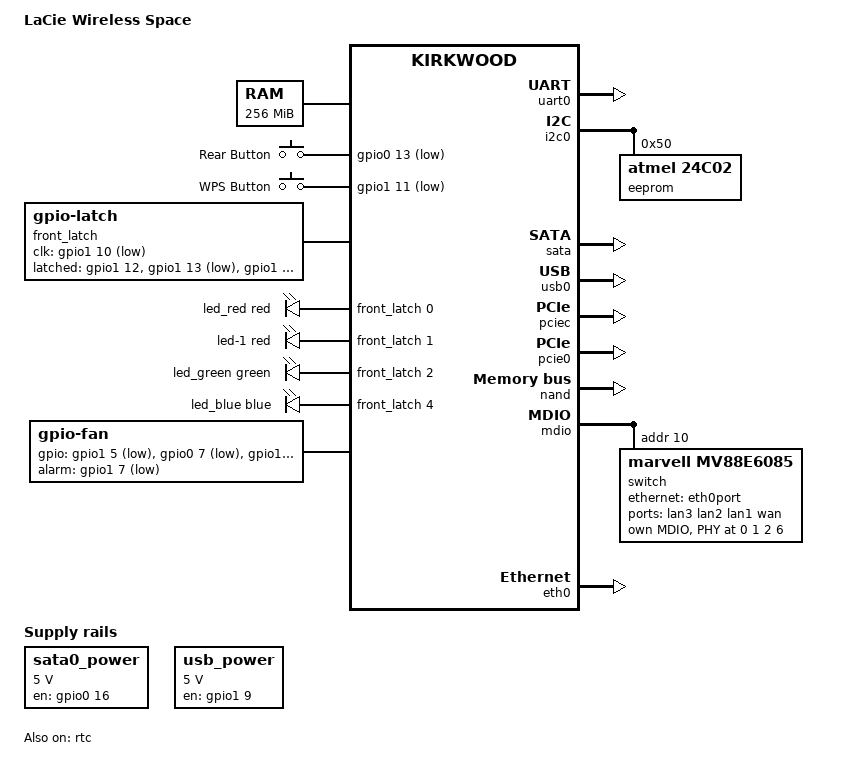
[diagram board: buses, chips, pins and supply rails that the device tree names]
// SPDX-License-Identifier: (GPL-2.0-or-later OR MIT)
/*
 * LaCie Wireless Space (board ASTON_WS_GN3, Marvell 88F6281, 256 MiB, 128 MiB NAND)
 *
 * GPIO/MPP map taken from the U-Boot board file removed in U-Boot commit
 * b352182a00 ("arm: Remove wireless_space board").
 *
 * Booted by the ported mainline U-Boot (board "wireless_space"), which loads
 * the "kernel" volume from UBI. The stock LaCie firmware is replaced; NAND
 * layout matches U-Boot's mtdparts:
 *   0x000000 768 KiB u-boot, 0x0c0000 256 KiB u-boot-env, 0x100000 ubi
 */

/dts-v1/;

#include "kirkwood.dtsi"
#include "kirkwood-6281.dtsi"
#include <dt-bindings/leds/common.h>

/ {
	model = "LaCie Wireless Space";
	compatible = "lacie,wireless-space", "marvell,kirkwood-88f6281", "marvell,kirkwood";

	memory@0 {
		device_type = "memory";
		reg = <0x00000000 0x10000000>;
	};

	aliases {
		serial0 = &uart0;
		led-boot = &led_blue;
		led-failsafe = &led_red;
		led-running = &led_blue;
		led-upgrade = &led_green;
	};

	chosen {
		bootargs = "console=ttyS0,115200n8 earlyprintk";
		stdout-path = "serial0:115200n8";
	};

	gpio-keys {
		compatible = "gpio-keys";

		reset {
			label = "Rear Button";
			linux,code = <KEY_RESTART>;
			gpios = <&gpio0 13 GPIO_ACTIVE_LOW>;
		};

		wps {
			label = "WPS Button";
			linux,code = <KEY_WPS_BUTTON>;
			gpios = <&gpio1 11 GPIO_ACTIVE_LOW>;	/* MPP43 */
		};
	};

	/*
	 * Front light: one RGB LED (common anode, connector J15) behind a
	 * latch. The stock kernel sets the data lines, then clocks MPP42
	 * low and back high; the outputs hold while MPP42 stays high
	 * (checked on the hardware), so MPP42 is an active-low clock here.
	 * MPP45 low makes the red LED blink in hardware (about 5 Hz).
	 * MPP47 low switches the blue LED to a disk activity input that
	 * stays dark with OpenWrt, so it is kept high.
	 */
	front_latch: gpio-latch {
		compatible = "gpio-latch";
		gpio-controller;
		#gpio-cells = <2>;
		setup-duration-ns = <1000>;
		clock-duration-ns = <1000>;

		clk-gpios = <&gpio1 10 GPIO_ACTIVE_LOW>;	/* MPP42 */
		latched-gpios = <&gpio1 12 GPIO_ACTIVE_HIGH>,	/* MPP44 red */
				<&gpio1 13 GPIO_ACTIVE_LOW>,	/* MPP45 red blink */
				<&gpio1 14 GPIO_ACTIVE_HIGH>,	/* MPP46 green */
				<&gpio1 15 GPIO_ACTIVE_LOW>,	/* MPP47 disk blink */
				<&gpio1 16 GPIO_ACTIVE_HIGH>;	/* MPP48 blue */
	};

	leds {
		compatible = "gpio-leds";

		led_red: led-0 {
			function = LED_FUNCTION_STATUS;
			color = <LED_COLOR_ID_RED>;
			gpios = <&front_latch 0 GPIO_ACTIVE_HIGH>;
		};

		/* hardware blink of the red LED (only visible with red on) */
		led-1 {
			function = LED_FUNCTION_FAULT;
			color = <LED_COLOR_ID_RED>;
			gpios = <&front_latch 1 GPIO_ACTIVE_HIGH>;
		};

		led_green: led-2 {
			function = LED_FUNCTION_STATUS;
			color = <LED_COLOR_ID_GREEN>;
			gpios = <&front_latch 2 GPIO_ACTIVE_HIGH>;
		};

		led_blue: led-4 {
			function = LED_FUNCTION_STATUS;
			color = <LED_COLOR_ID_BLUE>;
			gpios = <&front_latch 4 GPIO_ACTIVE_HIGH>;
		};
	};

	/*
	 * Fan, from the stock kernel's gpio-fan platform data: 3 speed bits
	 * (MPP37 = bit 0, MPP7 = bit 1, MPP36 = bit 2, active low), power on
	 * MPP38 (bit 3 here), MPP39 high while the fan turns. The RPM values
	 * are the stock table for speed 0..7.
	 */
	fan {
		compatible = "gpio-fan";
		gpios = <&gpio1 5 GPIO_ACTIVE_LOW>,	/* MPP37 */
			<&gpio0 7 GPIO_ACTIVE_LOW>,	/* MPP7 */
			<&gpio1 4 GPIO_ACTIVE_LOW>,	/* MPP36 */
			<&gpio1 6 GPIO_ACTIVE_HIGH>;	/* MPP38 */
		gpio-fan,speed-map = <0 0>, <1220 8>, <1325 9>, <1700 10>,
				     <2000 11>, <3200 12>, <3800 13>,
				     <4900 14>, <5400 15>;
		alarm-gpios = <&gpio1 7 GPIO_ACTIVE_LOW>;	/* MPP39 */
		#cooling-cells = <2>;
	};

	regulators {
		compatible = "simple-bus";
		#address-cells = <1>;
		#size-cells = <0>;

		sata0_power: regulator@1 {
			compatible = "regulator-fixed";
			reg = <1>;
			regulator-name = "SATA0 Power";
			regulator-min-microvolt = <5000000>;
			regulator-max-microvolt = <5000000>;
			enable-active-high;
			regulator-always-on;
			regulator-boot-on;
			gpio = <&gpio0 16 GPIO_ACTIVE_HIGH>;
		};

		usb_power: regulator@2 {
			compatible = "regulator-fixed";
			reg = <2>;
			regulator-name = "USB VBUS";
			regulator-min-microvolt = <5000000>;
			regulator-max-microvolt = <5000000>;
			enable-active-high;
			regulator-always-on;
			regulator-boot-on;
			gpio = <&gpio1 9 GPIO_ACTIVE_HIGH>;	/* MPP41 */
		};
	};
};

&uart0 {
	status = "okay";
};

&i2c0 {
	status = "okay";

	/* LaCie layout: be16 version (1..3) at 0, Ethernet MAC at 2 */
	eeprom@50 {
		compatible = "atmel,24c02";
		reg = <0x50>;
		read-only;
	};
};

&rtc {
	status = "okay";
};

&sata {
	status = "okay";
	nr-ports = <2>;
};

&usb0 {
	status = "okay";
};

&pciec {
	status = "okay";
};

&pcie0 {
	/* mini-PCIe Wi-Fi card */
	status = "okay";
};

&nand {
	status = "okay";
	chip-delay = <40>;

	partitions {
		compatible = "fixed-partitions";
		#address-cells = <1>;
		#size-cells = <1>;

		partition@0 {
			label = "u-boot";
			reg = <0x0000000 0x00c0000>;
			read-only;
		};

		partition@c0000 {
			label = "u-boot-env";
			reg = <0x00c0000 0x0040000>;
		};

		partition@100000 {
			label = "ubi";
			reg = <0x0100000 0x7f00000>;
		};
	};
};

&mdio {
	status = "okay";

	/*
	 * 88E6161 (or 88E6131, the stock kernel knows both) on GE0, CPU port 5,
	 * strapped in multi-chip addressing mode at SMI address 0xa (U-Boot used
	 * CONFIG_MV88E61XX_MULTICHIP_ADRMODE with PHY_BASE_ADR 0xa).
	 * Port 4 uses internal PHY 6 (from the former U-Boot switch driver).
	 * Sockets checked on the hardware: case LAN1 = port 2, LAN2 = port 1,
	 * LAN3 = port 0, WAN = port 4. Port 3 has no socket.
	 */
	switch@a {
		compatible = "marvell,mv88e6085";
		#address-cells = <1>;
		#size-cells = <0>;
		reg = <0xa>;

		ports {
			#address-cells = <1>;
			#size-cells = <0>;

			port@0 {
				reg = <0>;
				label = "lan3";
				phy-handle = <&swphy0>;
			};

			port@1 {
				reg = <1>;
				label = "lan2";
				phy-handle = <&swphy1>;
			};

			port@2 {
				reg = <2>;
				label = "lan1";
				phy-handle = <&swphy2>;
			};

			port@4 {
				reg = <4>;
				label = "wan";
				phy-handle = <&swphy6>;
			};

			port@5 {
				reg = <5>;
				phy-mode = "rgmii-id";
				ethernet = <&eth0port>;

				fixed-link {
					speed = <1000>;
					full-duplex;
				};
			};
		};

		/*
		 * PHY setup (checked on the hardware), port 3 has no socket:
		 * - page 0 reg 16 bits 9:8 = 0: energy-detect power-down off.
		 *   With it on, the link to a "green" switch never comes back
		 *   after preinit takes the port down; both ends stay asleep.
		 * - page 3 reg 16 = 0x1777, the PHY reset default, which the
		 *   marvell driver replaces with 0x0030: right LED green at
		 *   1000 Mbit (LED[0]) / orange at 100 Mbit (LED[1]), left LED
		 *   on with link, blinking with activity (LED[3]).
		 *   The wan socket has no green wired (LED[0] and LED[2] light
		 *   nothing), so wan uses 0x1767: LED[1] mode 6 = right LED
		 *   orange with link at 100 and 1000 Mbit.
		 * - page 0 reg 0 bit 15: soft reset, so the EDPD change is applied.
		 */
		mdio {
			#address-cells = <1>;
			#size-cells = <0>;

			swphy0: ethernet-phy@0 {
				reg = <0>;
				marvell,reg-init = <0 0x10 0xfcff 0>, <3 0x10 0 0x1777>,
						   <0 0x00 0xffff 0x8000>;
			};

			swphy1: ethernet-phy@1 {
				reg = <1>;
				marvell,reg-init = <0 0x10 0xfcff 0>, <3 0x10 0 0x1777>,
						   <0 0x00 0xffff 0x8000>;
			};

			swphy2: ethernet-phy@2 {
				reg = <2>;
				marvell,reg-init = <0 0x10 0xfcff 0>, <3 0x10 0 0x1777>,
						   <0 0x00 0xffff 0x8000>;
			};

			swphy6: ethernet-phy@6 {
				reg = <6>;
				marvell,reg-init = <0 0x10 0xfcff 0>, <3 0x10 0 0x1767>,
						   <0 0x00 0xffff 0x8000>;
			};
		};
	};
};

&eth0 {
	status = "okay";

	ethernet0-port@0 {
		speed = <1000>;
		duplex = <1>;
		phy-mode = "rgmii";
	};
};
